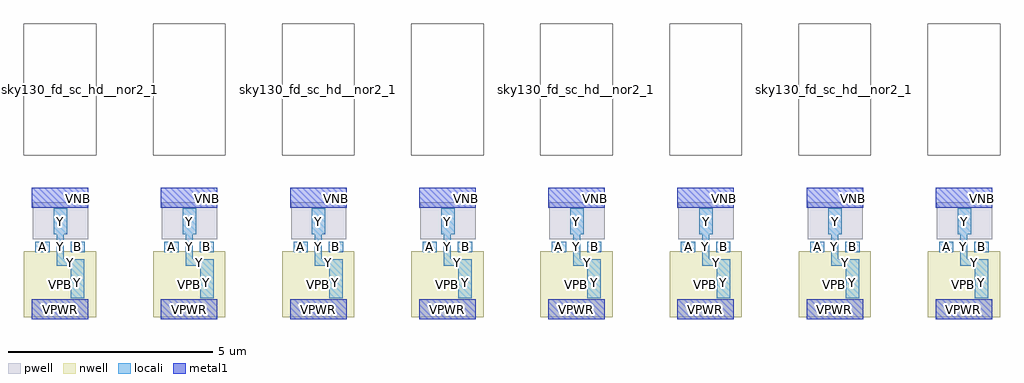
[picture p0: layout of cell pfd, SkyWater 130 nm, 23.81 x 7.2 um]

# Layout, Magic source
magic
tech sky130A
magscale 1 2
<< nwell >>
rect -38 -838 314 -517
rect 592 -838 944 -517
rect 1222 -838 1574 -517
rect 1852 -838 2204 -517
rect 2482 -838 2834 -517
rect 3112 -838 3464 -517
rect 3742 -838 4094 -517
rect 4372 -838 4724 -517
<< pwell >>
rect 212 -277 246 -239
rect 842 -277 876 -239
rect 1472 -277 1506 -239
rect 2102 -277 2136 -239
rect 2732 -277 2766 -239
rect 3362 -277 3396 -239
rect 3992 -277 4026 -239
rect 4622 -277 4656 -239
rect 5 -459 275 -277
rect 635 -459 905 -277
rect 1265 -459 1535 -277
rect 1895 -459 2165 -277
rect 2525 -459 2795 -277
rect 3155 -459 3425 -277
rect 3785 -459 4055 -277
rect 4415 -459 4685 -277
<< locali >>
rect 107 -435 173 -307
rect 737 -435 803 -307
rect 1367 -435 1433 -307
rect 1997 -435 2063 -307
rect 2627 -435 2693 -307
rect 3257 -435 3323 -307
rect 3887 -435 3953 -307
rect 4517 -435 4583 -307
rect 17 -521 87 -471
rect 121 -555 155 -435
rect 189 -521 259 -471
rect 647 -521 717 -471
rect 751 -555 785 -435
rect 819 -521 889 -471
rect 1277 -521 1347 -471
rect 1381 -555 1415 -435
rect 1449 -521 1519 -471
rect 1907 -521 1977 -471
rect 2011 -555 2045 -435
rect 2079 -521 2149 -471
rect 2537 -521 2607 -471
rect 2641 -555 2675 -435
rect 2709 -521 2779 -471
rect 3167 -521 3237 -471
rect 3271 -555 3305 -435
rect 3339 -521 3409 -471
rect 3797 -521 3867 -471
rect 3901 -555 3935 -435
rect 3969 -521 4039 -471
rect 4427 -521 4497 -471
rect 4531 -555 4565 -435
rect 4599 -521 4669 -471
rect 121 -589 257 -555
rect 751 -589 887 -555
rect 1381 -589 1517 -555
rect 2011 -589 2147 -555
rect 2641 -589 2777 -555
rect 3271 -589 3407 -555
rect 3901 -589 4037 -555
rect 4531 -589 4667 -555
rect 191 -746 257 -589
rect 821 -746 887 -589
rect 1451 -746 1517 -589
rect 2081 -746 2147 -589
rect 2711 -746 2777 -589
rect 3341 -746 3407 -589
rect 3971 -746 4037 -589
rect 4601 -746 4667 -589
<< metal1 >>
rect 0 -304 276 -208
rect 630 -304 906 -208
rect 1260 -304 1536 -208
rect 1890 -304 2166 -208
rect 2520 -304 2796 -208
rect 3150 -304 3426 -208
rect 3780 -304 4056 -208
rect 4410 -304 4686 -208
rect 0 -848 276 -752
rect 630 -848 906 -752
rect 1260 -848 1536 -752
rect 1890 -848 2166 -752
rect 2520 -848 2796 -752
rect 3150 -848 3426 -752
rect 3780 -848 4056 -752
rect 4410 -848 4686 -752
use sky130_fd_sc_hd__nor2_1  sky130_fd_sc_hd__nor2_1_0
transform 1 0 0 0 1 0
box -38 -48 314 592
use sky130_fd_sc_hd__nor2_1  sky130_fd_sc_hd__nor2_1_1
transform 1 0 630 0 1 0
box -38 -48 314 592
use sky130_fd_sc_hd__nor2_1  sky130_fd_sc_hd__nor2_1_2
transform 1 0 1260 0 1 0
box -38 -48 314 592
use sky130_fd_sc_hd__nor2_1  sky130_fd_sc_hd__nor2_1_3
transform 1 0 1890 0 1 0
box -38 -48 314 592
use sky130_fd_sc_hd__nor2_1  sky130_fd_sc_hd__nor2_1_4
transform 1 0 2520 0 1 0
box -38 -48 314 592
use sky130_fd_sc_hd__nor2_1  sky130_fd_sc_hd__nor2_1_5
transform 1 0 3150 0 1 0
box -38 -48 314 592
use sky130_fd_sc_hd__nor2_1  sky130_fd_sc_hd__nor2_1_6
transform 1 0 3780 0 1 0
box -38 -48 314 592
use sky130_fd_sc_hd__nor2_1  sky130_fd_sc_hd__nor2_1_7
transform 1 0 4410 0 1 0
box -38 -48 314 592
<< labels >>
rlabel locali s 4601 -746 4667 -589 2 Y
port 7 nsew signal output
rlabel locali s 4531 -589 4667 -555 2 Y
port 7 nsew signal output
rlabel locali s 4531 -555 4565 -435 2 Y
port 7 nsew signal output
rlabel locali s 4517 -435 4583 -307 2 Y
port 7 nsew signal output
rlabel metal1 s 4410 -848 4686 -752 2 VPWR
port 6 nsew power bidirectional abutment
rlabel nwell s 4372 -838 4724 -517 2 VPB
port 5 nsew power bidirectional
rlabel pwell s 4415 -459 4685 -277 2 VNB
port 4 nsew ground bidirectional
rlabel pwell s 4622 -277 4656 -239 2 VNB
port 4 nsew ground bidirectional
rlabel metal1 s 4410 -304 4686 -208 4 VGND
port 3 nsew ground bidirectional abutment
rlabel locali s 4599 -521 4669 -471 2 B
port 2 nsew signal input
rlabel locali s 4427 -521 4497 -471 2 A
port 1 nsew signal input
rlabel locali s 3971 -746 4037 -589 2 Y
port 7 nsew signal output
rlabel locali s 3901 -589 4037 -555 2 Y
port 7 nsew signal output
rlabel locali s 3901 -555 3935 -435 2 Y
port 7 nsew signal output
rlabel locali s 3887 -435 3953 -307 2 Y
port 7 nsew signal output
rlabel metal1 s 3780 -848 4056 -752 2 VPWR
port 6 nsew power bidirectional abutment
rlabel nwell s 3742 -838 4094 -517 2 VPB
port 5 nsew power bidirectional
rlabel pwell s 3785 -459 4055 -277 2 VNB
port 4 nsew ground bidirectional
rlabel pwell s 3992 -277 4026 -239 2 VNB
port 4 nsew ground bidirectional
rlabel metal1 s 3780 -304 4056 -208 4 VGND
port 3 nsew ground bidirectional abutment
rlabel locali s 3969 -521 4039 -471 2 B
port 2 nsew signal input
rlabel locali s 3797 -521 3867 -471 2 A
port 1 nsew signal input
rlabel locali s 3341 -746 3407 -589 2 Y
port 7 nsew signal output
rlabel locali s 3271 -589 3407 -555 2 Y
port 7 nsew signal output
rlabel locali s 3271 -555 3305 -435 2 Y
port 7 nsew signal output
rlabel locali s 3257 -435 3323 -307 2 Y
port 7 nsew signal output
rlabel metal1 s 3150 -848 3426 -752 2 VPWR
port 6 nsew power bidirectional abutment
rlabel nwell s 3112 -838 3464 -517 2 VPB
port 5 nsew power bidirectional
rlabel pwell s 3155 -459 3425 -277 2 VNB
port 4 nsew ground bidirectional
rlabel pwell s 3362 -277 3396 -239 2 VNB
port 4 nsew ground bidirectional
rlabel metal1 s 3150 -304 3426 -208 4 VGND
port 3 nsew ground bidirectional abutment
rlabel locali s 3339 -521 3409 -471 2 B
port 2 nsew signal input
rlabel locali s 3167 -521 3237 -471 2 A
port 1 nsew signal input
rlabel locali s 2711 -746 2777 -589 2 Y
port 7 nsew signal output
rlabel locali s 2641 -589 2777 -555 2 Y
port 7 nsew signal output
rlabel locali s 2641 -555 2675 -435 2 Y
port 7 nsew signal output
rlabel locali s 2627 -435 2693 -307 2 Y
port 7 nsew signal output
rlabel metal1 s 2520 -848 2796 -752 2 VPWR
port 6 nsew power bidirectional abutment
rlabel nwell s 2482 -838 2834 -517 2 VPB
port 5 nsew power bidirectional
rlabel pwell s 2525 -459 2795 -277 2 VNB
port 4 nsew ground bidirectional
rlabel pwell s 2732 -277 2766 -239 2 VNB
port 4 nsew ground bidirectional
rlabel metal1 s 2520 -304 2796 -208 4 VGND
port 3 nsew ground bidirectional abutment
rlabel locali s 2709 -521 2779 -471 2 B
port 2 nsew signal input
rlabel locali s 2537 -521 2607 -471 2 A
port 1 nsew signal input
rlabel locali s 2081 -746 2147 -589 2 Y
port 7 nsew signal output
rlabel locali s 2011 -589 2147 -555 2 Y
port 7 nsew signal output
rlabel locali s 2011 -555 2045 -435 2 Y
port 7 nsew signal output
rlabel locali s 1997 -435 2063 -307 2 Y
port 7 nsew signal output
rlabel metal1 s 1890 -848 2166 -752 2 VPWR
port 6 nsew power bidirectional abutment
rlabel nwell s 1852 -838 2204 -517 2 VPB
port 5 nsew power bidirectional
rlabel pwell s 1895 -459 2165 -277 2 VNB
port 4 nsew ground bidirectional
rlabel pwell s 2102 -277 2136 -239 2 VNB
port 4 nsew ground bidirectional
rlabel metal1 s 1890 -304 2166 -208 4 VGND
port 3 nsew ground bidirectional abutment
rlabel locali s 2079 -521 2149 -471 2 B
port 2 nsew signal input
rlabel locali s 1907 -521 1977 -471 2 A
port 1 nsew signal input
rlabel locali s 1451 -746 1517 -589 2 Y
port 7 nsew signal output
rlabel locali s 1381 -589 1517 -555 2 Y
port 7 nsew signal output
rlabel locali s 1381 -555 1415 -435 2 Y
port 7 nsew signal output
rlabel locali s 1367 -435 1433 -307 2 Y
port 7 nsew signal output
rlabel metal1 s 1260 -848 1536 -752 2 VPWR
port 6 nsew power bidirectional abutment
rlabel nwell s 1222 -838 1574 -517 2 VPB
port 5 nsew power bidirectional
rlabel pwell s 1265 -459 1535 -277 2 VNB
port 4 nsew ground bidirectional
rlabel pwell s 1472 -277 1506 -239 2 VNB
port 4 nsew ground bidirectional
rlabel metal1 s 1260 -304 1536 -208 4 VGND
port 3 nsew ground bidirectional abutment
rlabel locali s 1449 -521 1519 -471 2 B
port 2 nsew signal input
rlabel locali s 1277 -521 1347 -471 2 A
port 1 nsew signal input
rlabel locali s 821 -746 887 -589 2 Y
port 7 nsew signal output
rlabel locali s 751 -589 887 -555 2 Y
port 7 nsew signal output
rlabel locali s 751 -555 785 -435 2 Y
port 7 nsew signal output
rlabel locali s 737 -435 803 -307 2 Y
port 7 nsew signal output
rlabel metal1 s 630 -848 906 -752 2 VPWR
port 6 nsew power bidirectional abutment
rlabel nwell s 592 -838 944 -517 2 VPB
port 5 nsew power bidirectional
rlabel pwell s 635 -459 905 -277 2 VNB
port 4 nsew ground bidirectional
rlabel pwell s 842 -277 876 -239 2 VNB
port 4 nsew ground bidirectional
rlabel metal1 s 630 -304 906 -208 4 VGND
port 3 nsew ground bidirectional abutment
rlabel locali s 819 -521 889 -471 2 B
port 2 nsew signal input
rlabel locali s 647 -521 717 -471 2 A
port 1 nsew signal input
rlabel locali s 191 -746 257 -589 2 Y
port 7 nsew signal output
rlabel locali s 121 -589 257 -555 2 Y
port 7 nsew signal output
rlabel locali s 121 -555 155 -435 2 Y
port 7 nsew signal output
rlabel locali s 107 -435 173 -307 2 Y
port 7 nsew signal output
rlabel metal1 s 0 -848 276 -752 2 VPWR
port 6 nsew power bidirectional abutment
rlabel nwell s -38 -838 314 -517 2 VPB
port 5 nsew power bidirectional
rlabel pwell s 5 -459 275 -277 2 VNB
port 4 nsew ground bidirectional
rlabel pwell s 212 -277 246 -239 2 VNB
port 4 nsew ground bidirectional
rlabel metal1 s 0 -304 276 -208 4 VGND
port 3 nsew ground bidirectional abutment
rlabel locali s 189 -521 259 -471 2 B
port 2 nsew signal input
rlabel locali s 17 -521 87 -471 2 A
port 1 nsew signal input
<< end >>
